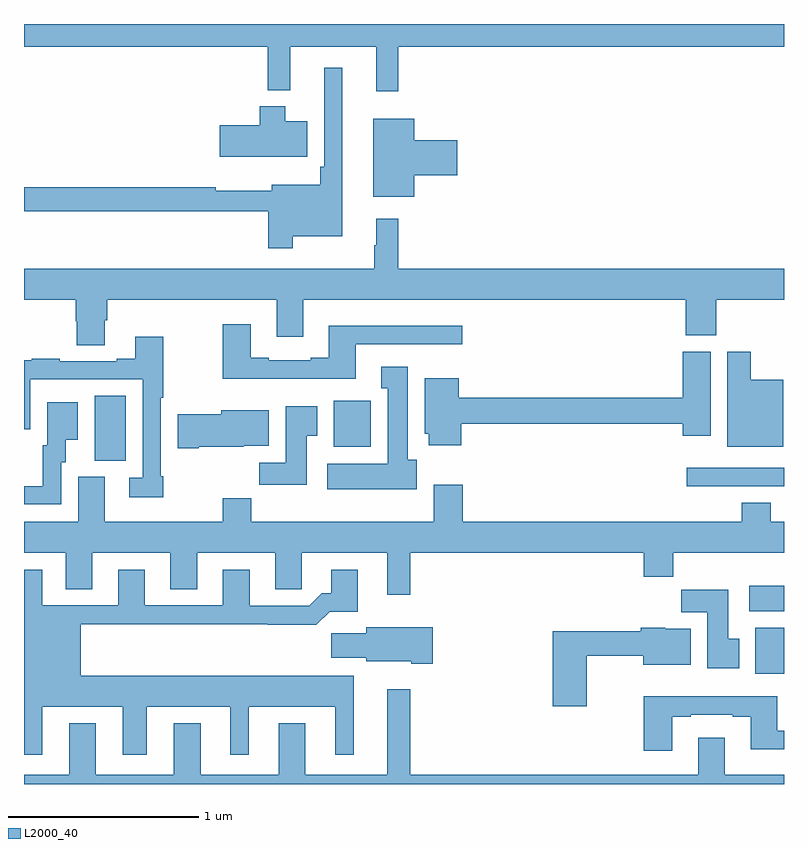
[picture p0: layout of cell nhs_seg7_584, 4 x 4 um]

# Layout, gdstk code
import gdstk
lib = gdstk.Library(unit=1e-6, precision=1e-09)
def R(c, l, rs):  # rectangles x0, y0, x1, y1
    for r in rs: c.add(gdstk.rectangle(r[:2], r[2:], *l))
def P(c, l, *ps):  # polygons
    for p in ps: c.add(gdstk.Polygon(p, *l))
L2000_40 = (2000, 40)

nhs_seg7_584 = lib.new_cell('nhs_seg7_584')
R(nhs_seg7_584, L2000_40, [(158.849,1066.58,159,1066.822), (158.817,1066.91,159,1067.044), (158.487,1067.568,159,1067.664), (155.372,1067.701,155.536,1068.044), (156.629,1067.774,156.826,1068.016)])
P(nhs_seg7_584, L2000_40, [(156.971,1069.88),(159,1069.88),(159,1070),(155,1070),(155,1069.88),(156.283,1069.88),(156.283,1069.652),(156.401,1069.652),(156.401,1069.88),(156.854,1069.88),(156.854,1069.647),(156.971,1069.647)],
  [(156.415,1068.884),(156.676,1068.884),(156.676,1069.771),(156.579,1069.771),(156.579,1069.249),(156.559,1069.249),(156.559,1069.153),(156.305,1069.153),(156.305,1069.123),(156.009,1069.123),(156.009,1069.142),(155,1069.142),(155,1069.014),(156.286,1069.014),(156.286,1068.819),(156.415,1068.819)],
  [(156.49,1069.489),(156.376,1069.489),(156.376,1069.567),(156.242,1069.567),(156.242,1069.467),(156.03,1069.467),(156.03,1069.301),(156.49,1069.301)],
  [(157.054,1069.205),(157.279,1069.205),(157.279,1069.388),(157.054,1069.388),(157.054,1069.501),(156.839,1069.501),(156.839,1069.091),(157.054,1069.091)],
  [(155,1068.548),(155.273,1068.548),(155.273,1068.435),(155.278,1068.435),(155.278,1068.31),(155.425,1068.31),(155.425,1068.442),(155.438,1068.442),(155.438,1068.548),(156.329,1068.548),(156.329,1068.354),(156.469,1068.354),(156.469,1068.548),(158.483,1068.548),(158.483,1068.361),(158.643,1068.361),(158.643,1068.548),(159,1068.548),(159,1068.712),(156.971,1068.712),(156.971,1068.976),(156.854,1068.976),(156.854,1068.836),(156.843,1068.836),(156.843,1068.712),(155,1068.712)],
  [(156.745,1068.315),(157.306,1068.315),(157.306,1068.412),(156.605,1068.412),(156.605,1068.244),(156.509,1068.244),(156.509,1068.231),(156.289,1068.231),(156.289,1068.244),(156.193,1068.244),(156.193,1068.421),(156.046,1068.421),(156.046,1068.134),(156.745,1068.134)],
  [(155.734,1067.62),(155.721,1067.62),(155.721,1068.032),(155.734,1068.032),(155.734,1068.355),(155.585,1068.355),(155.585,1068.238),(155.489,1068.238),(155.489,1068.225),(155.189,1068.225),(155.189,1068.238),(155.041,1068.238),(155.041,1068.231),(155,1068.231),(155,1067.868),(155.034,1067.868),(155.034,1068.129),(155.625,1068.129),(155.625,1067.613),(155.553,1067.613),(155.553,1067.508),(155.734,1067.508)],
  [(157.301,1067.896),(158.468,1067.896),(158.468,1067.832),(158.614,1067.832),(158.614,1068.276),(158.468,1068.276),(158.468,1068.032),(157.288,1068.032),(157.288,1068.136),(157.109,1068.136),(157.109,1067.844),(157.13,1067.844),(157.13,1067.784),(157.301,1067.784)],
  [(158.995,1068.127),(158.824,1068.127),(158.824,1068.274),(158.702,1068.274),(158.702,1067.774),(158.995,1067.774)],
  [(157.066,1067.706),(157.021,1067.706),(157.021,1068.196),(156.881,1068.196),(156.881,1068.083),(156.914,1068.083),(156.914,1067.686),(156.597,1067.686),(156.597,1067.552),(157.066,1067.552)],
  [(155.196,1067.694),(155.221,1067.694),(155.221,1067.813),(155.284,1067.813),(155.284,1068.01),(155.123,1068.01),(155.123,1067.784),(155.099,1067.784),(155.099,1067.568),(155,1067.568),(155,1067.472),(155.196,1067.472)],
  [(156.487,1067.833),(156.544,1067.833),(156.544,1067.989),(156.377,1067.989),(156.377,1067.692),(156.238,1067.692),(156.238,1067.574),(156.487,1067.574)],
  [(155.92,1067.774),(156.156,1067.774),(156.156,1067.78),(156.289,1067.78),(156.289,1067.968),(156.038,1067.968),(156.038,1067.945),(155.808,1067.945),(155.808,1067.767),(155.92,1067.767)],
  [(157.033,1067.216),(158.261,1067.216),(158.261,1067.092),(158.417,1067.092),(158.417,1067.216),(159,1067.216),(159,1067.38),(158.929,1067.38),(158.929,1067.479),(158.777,1067.479),(158.777,1067.38),(157.31,1067.38),(157.31,1067.575),(157.157,1067.575),(157.157,1067.38),(156.197,1067.38),(156.197,1067.504),(156.046,1067.504),(156.046,1067.38),(155.425,1067.38),(155.425,1067.616),(155.285,1067.616),(155.285,1067.38),(155,1067.38),(155,1067.216),(155.219,1067.216),(155.219,1067.026),(155.359,1067.026),(155.359,1067.216),(155.771,1067.216),(155.771,1067.026),(155.911,1067.026),(155.911,1067.216),(156.323,1067.216),(156.323,1067.026),(156.462,1067.026),(156.462,1067.216),(156.911,1067.216),(156.911,1066.995),(157.033,1066.995)],
  [(155.095,1066.406),(155.519,1066.406),(155.519,1066.155),(155.647,1066.155),(155.647,1066.406),(156.086,1066.406),(156.086,1066.155),(156.184,1066.155),(156.184,1066.406),(156.638,1066.406),(156.638,1066.155),(156.736,1066.155),(156.736,1066.57),(155.299,1066.57),(155.299,1066.84),(156.283,1066.84),(156.283,1066.838),(156.539,1066.838),(156.608,1066.907),(156.757,1066.907),(156.757,1067.128),(156.617,1067.128),(156.617,1067.005),(156.568,1067.005),(156.501,1066.938),(156.187,1066.938),(156.187,1067.128),(156.047,1067.128),(156.047,1066.941),(155.635,1066.941),(155.635,1067.128),(155.495,1067.128),(155.495,1066.941),(155.095,1066.941),(155.095,1067.128),(155,1067.128),(155,1066.155),(155.095,1066.155)],
  [(158.764,1066.764),(158.707,1066.764),(158.707,1067.023),(158.458,1067.023),(158.458,1066.904),(158.597,1066.904),(158.597,1066.608),(158.764,1066.608)],
  [(157.15,1066.825),(156.801,1066.825),(156.801,1066.793),(156.618,1066.793),(156.618,1066.664),(156.801,1066.664),(156.801,1066.646),(157.037,1066.646),(157.037,1066.634),(157.15,1066.634)],
  [(157.962,1066.675),(158.258,1066.675),(158.258,1066.628),(158.509,1066.628),(158.509,1066.816),(158.376,1066.816),(158.376,1066.822),(158.246,1066.822),(158.246,1066.804),(157.784,1066.804),(157.784,1066.41),(157.962,1066.41)],
  [(159,1066.048),(158.689,1066.048),(158.689,1066.243),(158.549,1066.243),(158.549,1066.048),(157.033,1066.048),(157.033,1066.498),(156.911,1066.498),(156.911,1066.048),(156.481,1066.048),(156.481,1066.321),(156.341,1066.321),(156.341,1066.048),(155.929,1066.048),(155.929,1066.321),(155.789,1066.321),(155.789,1066.048),(155.377,1066.048),(155.377,1066.321),(155.237,1066.321),(155.237,1066.048),(155,1066.048),(155,1066),(159,1066)],
  [(158.413,1066.353),(158.509,1066.353),(158.509,1066.365),(158.729,1066.365),(158.729,1066.353),(158.825,1066.353),(158.825,1066.184),(159,1066.184),(159,1066.281),(158.965,1066.281),(158.965,1066.462),(158.261,1066.462),(158.261,1066.176),(158.413,1066.176)])

lib.write_gds('nhs_seg7_584.gds')
